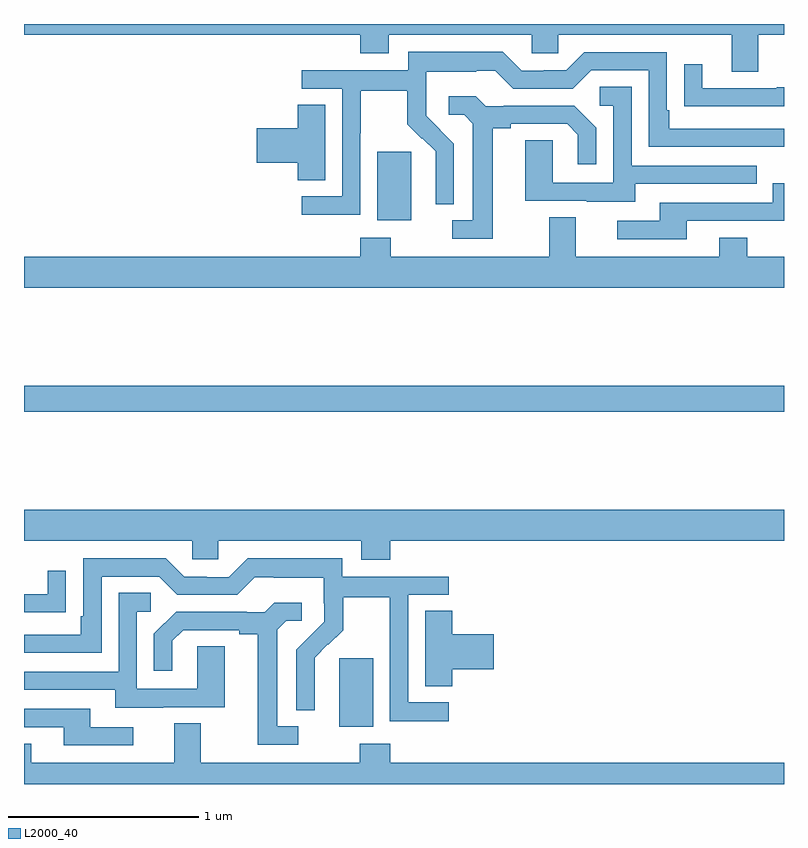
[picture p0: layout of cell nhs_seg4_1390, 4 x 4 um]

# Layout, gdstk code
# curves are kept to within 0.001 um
import gdstk
lib = gdstk.Library(unit=1e-6, precision=1e-09)
def R(c, l, rs):  # rectangles x0, y0, x1, y1
    for r in rs: c.add(gdstk.rectangle(r[:2], r[2:], *l))
def P(c, l, *ps):  # polygons
    for p in ps: c.add(gdstk.Polygon(p, *l))
L2000_40 = (2000, 40)

nhs_seg4_1390 = lib.new_cell('nhs_seg4_1390')
R(nhs_seg4_1390, L2000_40, [(184.658,769.202,184.837,769.563), (183,770.86,187,770.996), (184.859,771.866,185.038,772.227)])
P(nhs_seg4_1390, L2000_40, [(186.865,772.844),(187,772.844),(187,772.9),(183,772.9),(183,772.844),(184.769,772.844),(184.769,772.745),(184.921,772.745),(184.921,772.844),(185.673,772.844),(185.673,772.746),(185.811,772.746),(185.811,772.844),(186.725,772.844),(186.725,772.65),(186.865,772.65)],
  [(184.77,772.324),(184.773,772.324),(184.773,772.548),(185.017,772.548),(185.017,772.373),(185.094,772.296),(185.097,772.299),(185.168,772.229),(185.168,772.106),(185.166,772.106),(185.166,771.952),(185.262,771.952),(185.262,772.27),(185.116,772.418),(185.116,772.515),(185.118,772.515),(185.118,772.649),(185.381,772.649),(185.381,772.653),(185.481,772.653),(185.574,772.56),(185.889,772.56),(185.985,772.656),(186.288,772.656),(186.288,772.254),(187,772.254),(187,772.35),(186.397,772.35),(186.397,772.447),(186.384,772.447),(186.384,772.752),(185.949,772.752),(185.853,772.656),(185.735,772.656),(185.735,772.653),(185.619,772.653),(185.519,772.753),(185.022,772.753),(185.022,772.656),(184.461,772.656),(184.461,772.56),(184.674,772.56),(184.674,771.993),(184.461,771.993),(184.461,771.895),(184.77,771.895)],
  [(187,772.568),(186.961,772.568),(186.961,772.563),(186.571,772.563),(186.571,772.687),(186.475,772.687),(186.475,772.468),(186.577,772.468),(186.577,772.467),(187,772.467)],
  [(186.217,772.059),(186.857,772.059),(186.857,772.155),(186.198,772.155),(186.198,772.571),(186.03,772.571),(186.03,772.47),(186.102,772.47),(186.102,772.065),(185.784,772.065),(185.784,772.289),(185.639,772.289),(185.639,771.969),(185.963,771.969),(185.963,771.965),(186.217,771.965)],
  [(185.467,772.352),(185.563,772.352),(185.563,772.374),(185.858,772.374),(185.915,772.317),(185.915,772.161),(186.012,772.161),(186.012,772.354),(185.896,772.47),(185.524,772.47),(185.524,772.467),(185.43,772.467),(185.378,772.519),(185.235,772.519),(185.235,772.422),(185.316,772.422),(185.363,772.375),(185.363,771.867),(185.253,771.867),(185.253,771.771),(185.467,771.771)],
  [(184.585,772.475),(184.442,772.475),(184.442,772.352),(184.224,772.352),(184.224,772.169),(184.442,772.169),(184.442,772.078),(184.585,772.078)],
  [(186.487,771.864),(187,771.864),(187,772.063),(186.942,772.063),(186.942,771.96),(186.347,771.96),(186.347,771.864),(186.123,771.864),(186.123,771.768),(186.487,771.768)],
  [(187,771.676),(186.807,771.676),(186.807,771.775),(186.659,771.775),(186.659,771.676),(185.905,771.676),(185.905,771.884),(185.765,771.884),(185.765,771.676),(184.929,771.676),(184.929,771.775),(184.769,771.775),(184.769,771.676),(183,771.676),(183,771.512),(187,771.512)],
  [(184.928,770.18),(187,770.18),(187,770.344),(183,770.344),(183,770.18),(183.885,770.18),(183.885,770.082),(184.023,770.082),(184.023,770.18),(184.775,770.18),(184.775,770.081),(184.928,770.081)],
  [(185.236,769.329),(185.022,769.329),(185.022,769.896),(185.236,769.896),(185.236,769.992),(184.674,769.992),(184.674,770.089),(184.177,770.089),(184.077,769.989),(183.962,769.989),(183.962,769.992),(183.843,769.992),(183.747,770.088),(183.312,770.088),(183.312,769.783),(183.299,769.783),(183.299,769.686),(183,769.686),(183,769.59),(183.408,769.59),(183.408,769.992),(183.711,769.992),(183.807,769.896),(184.122,769.896),(184.215,769.989),(184.315,769.989),(184.315,769.985),(184.578,769.985),(184.578,769.851),(184.58,769.851),(184.58,769.754),(184.434,769.606),(184.434,769.288),(184.53,769.288),(184.529,769.565),(184.599,769.635),(184.602,769.632),(184.679,769.709),(184.679,769.884),(184.924,769.884),(184.924,769.66),(184.926,769.66),(184.926,769.231),(185.236,769.231)],
  [(183.119,769.804),(183.221,769.804),(183.221,770.023),(183.125,770.023),(183.125,769.899),(183,769.899),(183,769.803),(183.119,769.803)],
  [(183.733,769.305),(184.057,769.305),(184.057,769.625),(183.912,769.625),(183.912,769.401),(183.594,769.401),(183.594,769.806),(183.667,769.806),(183.667,769.907),(183.498,769.907),(183.498,769.491),(183,769.491),(183,769.395),(183.479,769.395),(183.479,769.301),(183.733,769.301)],
  [(184.444,769.203),(184.333,769.203),(184.333,769.711),(184.38,769.758),(184.462,769.758),(184.462,769.855),(184.318,769.855),(184.266,769.803),(184.172,769.803),(184.172,769.806),(183.8,769.806),(183.684,769.69),(183.684,769.497),(183.781,769.497),(183.781,769.653),(183.838,769.71),(184.133,769.71),(184.133,769.688),(184.229,769.688),(184.229,769.107),(184.444,769.107)],
  [(185.255,769.505),(185.473,769.505),(185.473,769.688),(185.255,769.688),(185.255,769.811),(185.111,769.811),(185.111,769.414),(185.255,769.414)],
  [(183.574,769.2),(183.349,769.2),(183.349,769.296),(183,769.296),(183,769.2),(183.209,769.2),(183.209,769.104),(183.574,769.104)],
  [(187,769.012),(184.928,769.012),(184.928,769.111),(184.768,769.111),(184.768,769.012),(183.931,769.012),(183.931,769.22),(183.791,769.22),(183.791,769.012),(183.037,769.012),(183.037,769.111),(183,769.111),(183,768.9),(187,768.9)])

lib.write_gds('nhs_seg4_1390.gds')
